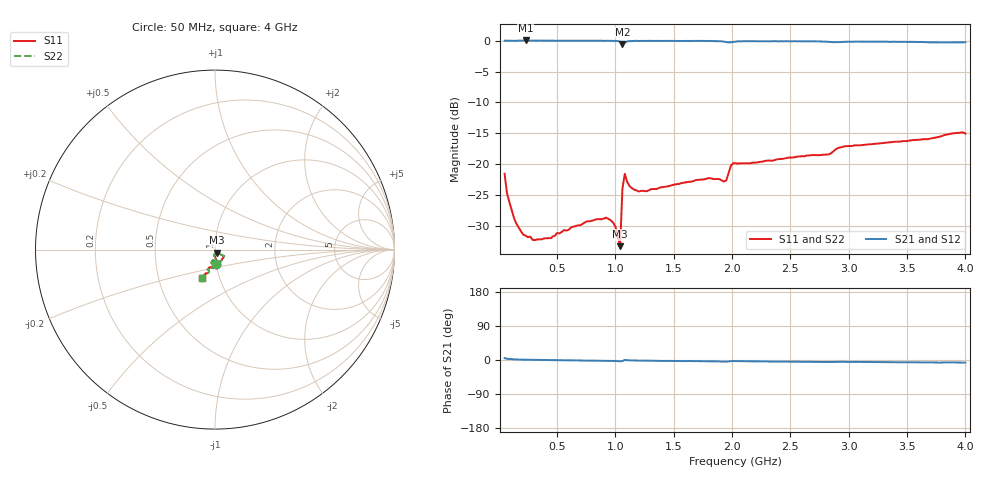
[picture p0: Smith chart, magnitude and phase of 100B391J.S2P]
!  American Technical Ceramics  Date:  3/13/98
!  One Norden Lane
!  Huntington Station,  NY.  11746-2102
!  Tel:  (516) 547-5700  Fax:  (516) 547-5748
!  Part Number  100b391j
!  Description: Porcelain, High Q, Low ESR
!  Application: Bypass, Coupling, Timing, Feedback
!  Tuning, Impedance Match, Blocking
# GHZ S DB R 50
! Freq  |S11|  S11 Ph  |S21|  S21 Ph  |S12|  S12 Ph  |S22|  S22 Ph
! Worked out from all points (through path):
!   201 points, 50 MHz to 4 GHz, reference 50 ohm
!   highest |S21| = 0.06 dB at 230 MHz (marker M1); lowest = -0.5 dB at 1.06 GHz (marker M2)
!   group delay of S21, straight-line fit = 5.44 ps
!   lowest |S11| = -33.3 dB at 1.04 GHz (marker M3), VSWR 1.04, Z = 51.3 - j1.78 ohm
!   |S11| at or under -10 dB: start of sweep to end of sweep
!   |S22| runs from -33.3 to -14.9 dB; largest |S21 - S12| = 0
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0.05  -21.58 -84.7  0.03 5.0  0.03 5.0  -21.58 -84.7
0.07  -24.70 -85.8  0.01 3.3  0.01 3.3  -24.70 -85.8
0.13  -28.73 -89.9  -0.01 1.6  -0.01 1.6  -28.73 -89.9
0.23  -31.62 -91.7  0.06 0.7  0.06 0.7  -31.62 -91.7
0.45  -32.03 -93.5  0.03 -0.2  0.03 -0.2  -32.03 -93.5
0.72  -29.68 -96.1  0.02 -1.2  0.02 -1.2  -29.68 -96.1
0.96  -29.13 -99.3  0.00 -2.0  0.00 -2.0  -29.13 -99.3
1  -30.17 -96.4  -0.01 -2.6  -0.01 -2.6  -30.17 -96.4
1.04  -33.33 -53.7  -0.14 -3.4  -0.14 -3.4  -33.33 -53.7
1.06  -24.01 -35.7  -0.49 -3.0  -0.49 -3.0  -24.01 -35.7
1.08  -21.59 -74.9  -0.30 0.1  -0.30 0.1  -21.59 -74.9
1.12  -23.55 -94.2  -0.04 -1.1  -0.04 -1.1  -23.55 -94.2
1.16  -24.15 -98.2  -0.01 -1.3  -0.01 -1.3  -24.15 -98.2
1.37  -23.91 -101.7  0.00 -2.2  0.00 -2.2  -23.91 -101.7
1.81  -22.28 -105.6  -0.01 -3.5  -0.01 -3.5  -22.28 -105.6
1.93  -22.84 -99.7  -0.13 -4.2  -0.13 -4.2  -22.84 -99.7
1.95  -22.67 -93.4  -0.20 -4.2  -0.20 -4.2  -22.67 -93.4
1.99  -20.25 -92.2  -0.24 -3.1  -0.24 -3.1  -20.25 -92.2
2.03  -19.87 -100.8  -0.14 -2.9  -0.14 -2.9  -19.87 -100.8
2.7  -18.54 -110.0  -0.08 -4.8  -0.08 -4.8  -18.54 -110.0
3.35  -16.49 -112.2  -0.17 -5.8  -0.17 -5.8  -16.49 -112.2
4  -15.07 -114.8  -0.21 -6.8  -0.21 -6.8  -15.07 -114.8
